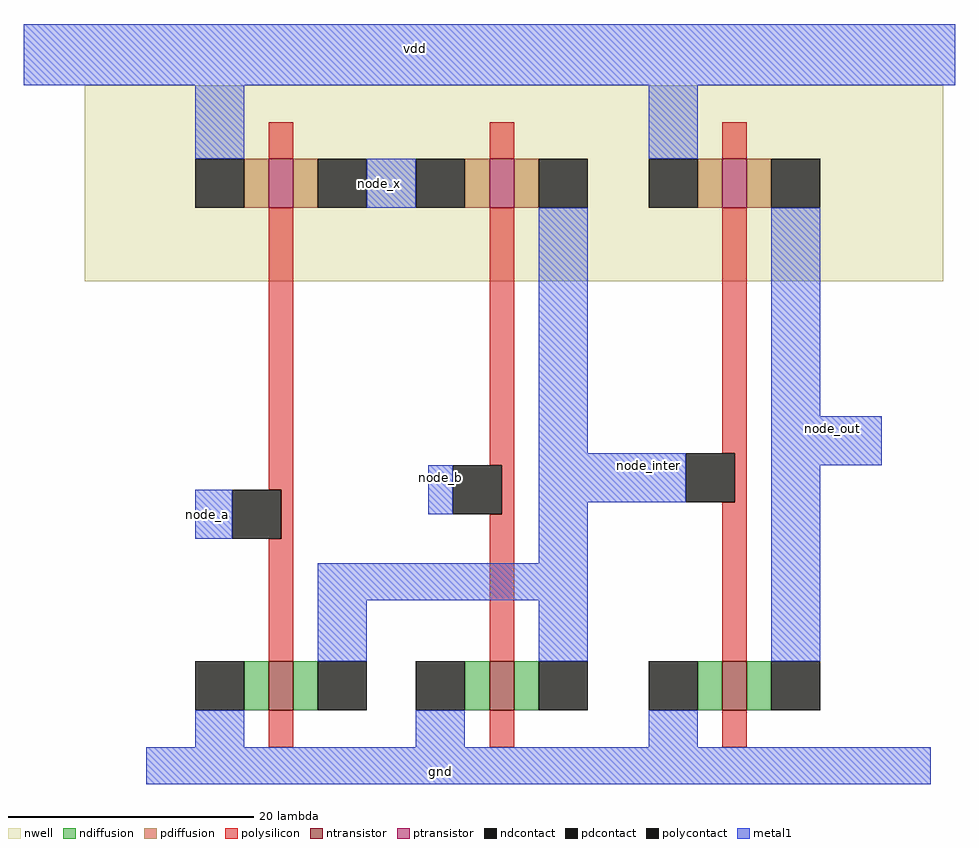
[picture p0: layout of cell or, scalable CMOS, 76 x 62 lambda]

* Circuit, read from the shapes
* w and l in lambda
.subckt or gnd node_a node_b node_inter node_out node_x vdd
M1 node_inter node_a gnd VSUBS nfet w=4 l=2
M2 node_inter node_b gnd VSUBS nfet w=4 l=2
M3 node_out node_inter gnd VSUBS nfet w=4 l=2
M4 node_x node_a vdd n1 pfet w=4 l=2
M5 node_inter node_b node_x n1 pfet w=4 l=2
M6 node_out node_inter vdd n1 pfet w=4 l=2
.ends

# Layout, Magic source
magic
tech scmos
<< nwell >>
rect -117 206 -47 222
<< ntransistor >>
rect -102 171 -100 175
rect -84 171 -82 175
rect -65 171 -63 175
<< ptransistor >>
rect -102 212 -100 216
rect -84 212 -82 216
rect -65 212 -63 216
<< ndiffusion >>
rect -104 171 -102 175
rect -100 171 -98 175
rect -86 171 -84 175
rect -82 171 -80 175
rect -67 171 -65 175
rect -63 171 -61 175
<< pdiffusion >>
rect -104 212 -102 216
rect -100 212 -98 216
rect -86 212 -84 216
rect -82 212 -80 216
rect -67 212 -65 216
rect -63 212 -61 216
<< ndcontact >>
rect -108 171 -104 175
rect -98 171 -94 175
rect -90 171 -86 175
rect -80 171 -76 175
rect -71 171 -67 175
rect -61 171 -57 175
<< pdcontact >>
rect -108 212 -104 216
rect -98 212 -94 216
rect -90 212 -86 216
rect -80 212 -76 216
rect -71 212 -67 216
rect -61 212 -57 216
<< polysilicon >>
rect -102 216 -100 219
rect -84 216 -82 219
rect -65 216 -63 219
rect -102 189 -100 212
rect -84 191 -82 212
rect -65 192 -63 212
rect -101 185 -100 189
rect -83 187 -82 191
rect -64 188 -63 192
rect -102 175 -100 185
rect -84 175 -82 187
rect -65 175 -63 188
rect -102 168 -100 171
rect -84 168 -82 171
rect -65 168 -63 171
<< polycontact >>
rect -105 185 -101 189
rect -87 187 -83 191
rect -68 188 -64 192
<< metal1 >>
rect -122 222 -46 227
rect -108 216 -104 222
rect -71 216 -67 222
rect -94 212 -90 216
rect -80 192 -76 212
rect -61 195 -57 212
rect -108 185 -105 189
rect -89 187 -87 191
rect -80 188 -68 192
rect -61 191 -52 195
rect -80 183 -76 188
rect -98 180 -76 183
rect -98 175 -94 180
rect -80 175 -76 180
rect -61 175 -57 191
rect -108 168 -104 171
rect -90 168 -86 171
rect -71 168 -67 171
rect -112 165 -48 168
<< labels >>
rlabel metal1 -90 225 -90 225 5 vdd
rlabel metal1 -107 187 -107 187 1 node_a
rlabel metal1 -88 190 -88 190 1 node_b
rlabel metal1 -71 191 -71 191 1 node_inter
rlabel metal1 -56 194 -56 194 1 node_out
rlabel metal1 -88 166 -88 166 1 gnd
rlabel metal1 -93 214 -93 214 1 node_x
<< end >>
